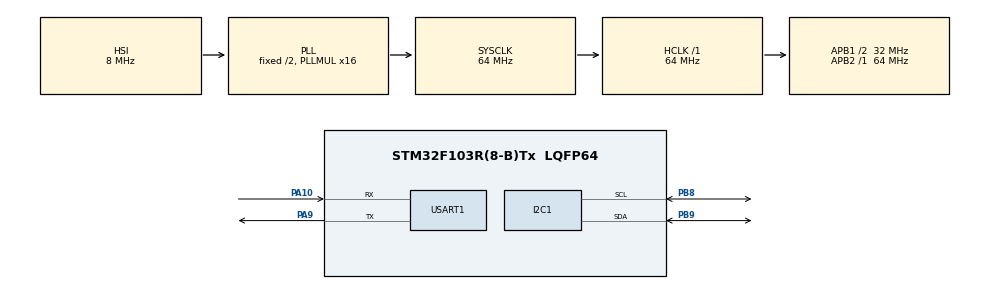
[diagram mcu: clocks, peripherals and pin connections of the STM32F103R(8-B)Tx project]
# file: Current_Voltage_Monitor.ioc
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Mcu.Family=STM32F1
Mcu.Name=STM32F103R(8-B)Tx
Mcu.Package=LQFP64
NVIC.PriorityGroup=NVIC_PRIORITYGROUP_4
PA10.Mode=Asynchronous
PA10.Signal=USART1_RX
PA9.Mode=Asynchronous
PA9.Signal=USART1_TX
PB8.Mode=I2C
PB8.Signal=I2C1_SCL
PB9.Mode=I2C
PB9.Signal=I2C1_SDA
ProjectManager.HeapSize=0x200
ProjectManager.StackSize=0x400
ProjectManager.TargetToolchain=MDK-ARM V5
RCC.AHBFreq_Value=64000000
RCC.APB1CLKDivider=RCC_HCLK_DIV2
RCC.APB1Freq_Value=32000000
RCC.APB1TimFreq_Value=64000000
RCC.APB2Freq_Value=64000000
RCC.APB2TimFreq_Value=64000000
RCC.HCLKFreq_Value=64000000
RCC.PLLMUL=RCC_PLL_MUL16
RCC.RTCClockSelection=RCC_RTCCLKSOURCE_LSE
RCC.SYSCLKFreq_VALUE=64000000
RCC.SYSCLKSource=RCC_SYSCLKSOURCE_PLLCLK
RCC.USBFreq_Value=64000000
USART1.VirtualMode=VM_ASYNC
VP_SYS_VS_ND.Mode=No_Debug
board=NUCLEO-F103RB

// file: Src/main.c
/* USER CODE BEGIN Header */
/**
  ******************************************************************************
  * @file           : main.c
  * @brief          : Main program body
  ******************************************************************************
  ** This notice applies to any and all portions of this file
  * that are not between comment pairs USER CODE BEGIN and
  * USER CODE END. Other portions of this file, whether
  * inserted by the user or by software development tools
  * are owned by their respective copyright owners.
  *
  * COPYRIGHT(c) 2019 STMicroelectronics
  *
  * Redistribution and use in source and binary forms, with or without modification,
  * are permitted provided that the following conditions are met:
  *   1. Redistributions of source code must retain the above copyright notice,
  *      this list of conditions and the following disclaimer.
  *   2. Redistributions in binary form must reproduce the above copyright notice,
  *      this list of conditions and the following disclaimer in the documentation
  *      and/or other materials provided with the distribution.
  *   3. Neither the name of STMicroelectronics nor the names of its contributors
  *      may be used to endorse or promote products derived from this software
  *      without specific prior written permission.
  *
  * THIS SOFTWARE IS PROVIDED BY THE COPYRIGHT HOLDERS AND CONTRIBUTORS "AS IS"
  * AND ANY EXPRESS OR IMPLIED WARRANTIES, INCLUDING, BUT NOT LIMITED TO, THE
  * IMPLIED WARRANTIES OF MERCHANTABILITY AND FITNESS FOR A PARTICULAR PURPOSE ARE
  * DISCLAIMED. IN NO EVENT SHALL THE COPYRIGHT HOLDER OR CONTRIBUTORS BE LIABLE
  * FOR ANY DIRECT, INDIRECT, INCIDENTAL, SPECIAL, EXEMPLARY, OR CONSEQUENTIAL
  * DAMAGES (INCLUDING, BUT NOT LIMITED TO, PROCUREMENT OF SUBSTITUTE GOODS OR
  * SERVICES; LOSS OF USE, DATA, OR PROFITS; OR BUSINESS INTERRUPTION) HOWEVER
  * CAUSED AND ON ANY THEORY OF LIABILITY, WHETHER IN CONTRACT, STRICT LIABILITY,
  * OR TORT (INCLUDING NEGLIGENCE OR OTHERWISE) ARISING IN ANY WAY OUT OF THE USE
  * OF THIS SOFTWARE, EVEN IF ADVISED OF THE POSSIBILITY OF SUCH DAMAGE.
  *
  ******************************************************************************
  */
/* USER CODE END Header */

#include "main.h"

/* USER CODE BEGIN Includes */
#include "string.h"
/* USER CODE END Includes */

I2C_HandleTypeDef hi2c1;

UART_HandleTypeDef huart1;

void SystemClock_Config(void);
static void MX_GPIO_Init(void);
static void MX_I2C1_Init(void);
static void MX_USART1_UART_Init(void);

int main(void)
{

  /* MCU Configuration--------------------------------------------------------*/

  /* Reset of all peripherals, Initializes the Flash interface and the Systick. */
  HAL_Init();

  /* Configure the system clock */
  SystemClock_Config();

  /* Initialize all configured peripherals */
  MX_GPIO_Init();
  MX_I2C1_Init();
  MX_USART1_UART_Init();
  /* USER CODE BEGIN 2 */

//
uint8_t Error[] = "Error\n";
uint8_t Sucess[] = "Sucess\n";
uint8_t Start[] = "Start\n";

HAL_UART_Transmit(&huart1,Start,strlen((char*)Start),10);

if(HAL_I2C_IsDeviceReady(&hi2c1, 0x40, 5, 10) != HAL_OK){
	HAL_UART_Transmit(&huart1,Error,strlen((char*)Error),10);
}else{
	HAL_UART_Transmit(&huart1,Sucess,strlen((char*)Sucess),10);
}

//

  /* USER CODE END 2 */

  /* Infinite loop */
  while (1)
  {

  }
}

void SystemClock_Config(void)
{
  RCC_OscInitTypeDef RCC_OscInitStruct = {0};
  RCC_ClkInitTypeDef RCC_ClkInitStruct = {0};

  /**Initializes the CPU, AHB and APB busses clocks
  */
  RCC_OscInitStruct.OscillatorType = RCC_OSCILLATORTYPE_HSI;
  RCC_OscInitStruct.HSIState = RCC_HSI_ON;
  RCC_OscInitStruct.HSICalibrationValue = RCC_HSICALIBRATION_DEFAULT;
  RCC_OscInitStruct.PLL.PLLState = RCC_PLL_ON;
  RCC_OscInitStruct.PLL.PLLSource = RCC_PLLSOURCE_HSI_DIV2;
  RCC_OscInitStruct.PLL.PLLMUL = RCC_PLL_MUL16;
  if (HAL_RCC_OscConfig(&RCC_OscInitStruct) != HAL_OK)
  {
    Error_Handler();
  }
  /**Initializes the CPU, AHB and APB busses clocks
  */
  RCC_ClkInitStruct.ClockType = RCC_CLOCKTYPE_HCLK|RCC_CLOCKTYPE_SYSCLK
                              |RCC_CLOCKTYPE_PCLK1|RCC_CLOCKTYPE_PCLK2;
  RCC_ClkInitStruct.SYSCLKSource = RCC_SYSCLKSOURCE_PLLCLK;
  RCC_ClkInitStruct.AHBCLKDivider = RCC_SYSCLK_DIV1;
  RCC_ClkInitStruct.APB1CLKDivider = RCC_HCLK_DIV2;
  RCC_ClkInitStruct.APB2CLKDivider = RCC_HCLK_DIV1;

  if (HAL_RCC_ClockConfig(&RCC_ClkInitStruct, FLASH_LATENCY_2) != HAL_OK)
  {
    Error_Handler();
  }
}

static void MX_I2C1_Init(void)
{

  hi2c1.Instance = I2C1;
  hi2c1.Init.ClockSpeed = 100000;
  hi2c1.Init.DutyCycle = I2C_DUTYCYCLE_2;
  hi2c1.Init.OwnAddress1 = 0;
  hi2c1.Init.AddressingMode = I2C_ADDRESSINGMODE_7BIT;
  hi2c1.Init.DualAddressMode = I2C_DUALADDRESS_DISABLE;
  hi2c1.Init.OwnAddress2 = 0;
  hi2c1.Init.GeneralCallMode = I2C_GENERALCALL_DISABLE;
  hi2c1.Init.NoStretchMode = I2C_NOSTRETCH_DISABLE;
  if (HAL_I2C_Init(&hi2c1) != HAL_OK)
  {
    Error_Handler();
  }

}

static void MX_USART1_UART_Init(void)
{

  huart1.Instance = USART1;
  huart1.Init.BaudRate = 115200;
  huart1.Init.WordLength = UART_WORDLENGTH_8B;
  huart1.Init.StopBits = UART_STOPBITS_1;
  huart1.Init.Parity = UART_PARITY_NONE;
  huart1.Init.Mode = UART_MODE_TX_RX;
  huart1.Init.HwFlowCtl = UART_HWCONTROL_NONE;
  huart1.Init.OverSampling = UART_OVERSAMPLING_16;
  if (HAL_UART_Init(&huart1) != HAL_OK)
  {
    Error_Handler();
  }

}

static void MX_GPIO_Init(void)
{

  /* GPIO Ports Clock Enable */
  __HAL_RCC_GPIOA_CLK_ENABLE();
  __HAL_RCC_GPIOB_CLK_ENABLE();

}

/* USER CODE BEGIN 4 */
void readReg(I2C_HandleTypeDef *hi2c, uint8_t reg, uint16_t *recv)
{
	// Values are ent as bytes so make a buffer to get the bytes and then reassemble
	uint8_t recv_buff[2] = {0};

	// I2C Read
	HAL_I2C_Master_Transmit(hi2c, CurrentSensor_SLAVE_ADDR, &reg, 1, 10);
	HAL_I2C_Master_Receive(hi2c, CurrentSensor_SLAVE_ADDR, recv_buff, 2, 10);

	// Reassemble the bytes into the unsigned integer output
	*recv |= recv_buff[1];
	*recv <<= 8;
	*recv |= recv_buff[0];
}

void writeReg(I2C_HandleTypeDef *hi2c, uint8_t reg, uint16_t *send)
{
	// Write the value to the register
	uint8_t send_buff[3] = {reg, (uint8_t)(*send & 0x00FF), (uint8_t)((*send >> 8) & 0x00FF)};
	HAL_I2C_Master_Transmit(hi2c, CurrentSensor_SLAVE_ADDR, send_buff, 3, 10);
}
/* USER CODE END 4 */

void Error_Handler(void)
{
}

/************************ (C) COPYRIGHT STMicroelectronics *****END OF FILE****/
